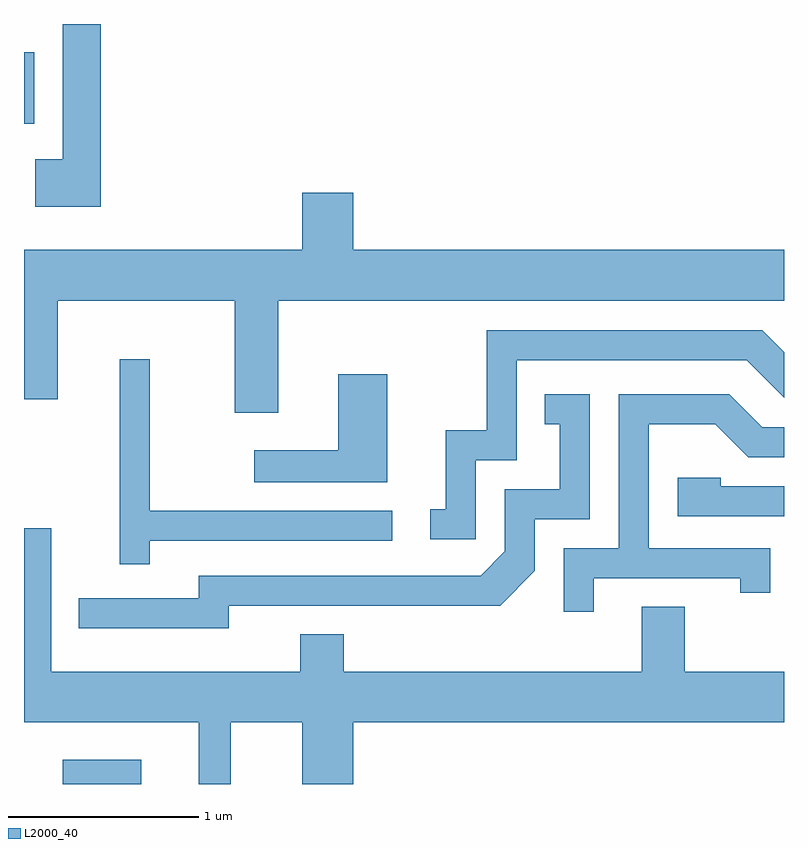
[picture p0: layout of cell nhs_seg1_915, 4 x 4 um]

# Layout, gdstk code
import gdstk
lib = gdstk.Library(unit=1e-6, precision=1e-09)
def R(c, l, rs):  # rectangles x0, y0, x1, y1
    for r in rs: c.add(gdstk.rectangle(r[:2], r[2:], *l))
def P(c, l, *ps):  # polygons
    for p in ps: c.add(gdstk.Polygon(p, *l))
L2000_40 = (2000, 40)

nhs_seg1_915 = lib.new_cell('nhs_seg1_915')
R(nhs_seg1_915, L2000_40, [(213.816,883.712,214.229,883.839), (213.611,887.186,213.664,887.564)])
P(nhs_seg1_915, L2000_40, [(214.014,887.712),(213.816,887.712),(213.816,886.999),(213.671,886.999),(213.671,886.751),(214.014,886.751)],
  [(214.949,886.256),(217.611,886.256),(217.611,886.524),(215.344,886.524),(215.344,886.824),(215.076,886.824),(215.076,886.524),(213.611,886.524),(213.611,885.736),(213.789,885.736),(213.789,886.256),(214.721,886.256),(214.721,885.666),(214.949,885.666)],
  [(215.989,885.416),(216.204,885.416),(216.204,885.941),(217.414,885.941),(217.611,885.744),(217.611,885.985),(217.497,886.099),(216.046,886.099),(216.046,885.574),(215.831,885.574),(215.831,885.159),(215.748,885.159),(215.748,885.001),(215.989,885.001)],
  [(214.274,884.991),(215.548,884.991),(215.548,885.149),(214.274,885.149),(214.274,885.948),(214.116,885.948),(214.116,884.868),(214.274,884.868)],
  [(215.524,885.869),(215.266,885.869),(215.266,885.469),(214.823,885.469),(214.823,885.301),(215.524,885.301)],
  [(214.689,884.651),(216.117,884.651),(216.299,884.834),(216.299,885.106),(216.589,885.106),(216.589,885.764),(216.353,885.764),(216.353,885.606),(216.431,885.606),(216.431,885.264),(216.141,885.264),(216.141,884.937),(216.014,884.809),(214.531,884.809),(214.531,884.689),(213.898,884.689),(213.898,884.531),(214.689,884.531)],
  [(216.609,884.796),(217.381,884.796),(217.381,884.718),(217.539,884.718),(217.539,884.954),(216.899,884.954),(216.899,885.606),(217.249,885.606),(217.424,885.431),(217.611,885.431),(217.611,885.589),(217.497,885.589),(217.322,885.764),(216.741,885.764),(216.741,884.954),(216.451,884.954),(216.451,884.618),(216.609,884.618)],
  [(217.611,885.279),(217.279,885.279),(217.279,885.324),(217.051,885.324),(217.051,885.121),(217.611,885.121)],
  [(214.699,884.036),(215.076,884.036),(215.076,883.712),(215.344,883.712),(215.344,884.036),(217.611,884.036),(217.611,884.304),(217.089,884.304),(217.089,884.644),(216.861,884.644),(216.861,884.304),(215.294,884.304),(215.294,884.499),(215.066,884.499),(215.066,884.304),(213.754,884.304),(213.754,885.058),(213.611,885.058),(213.611,884.036),(214.531,884.036),(214.531,883.712),(214.699,883.712)])

lib.write_gds('nhs_seg1_915.gds')
